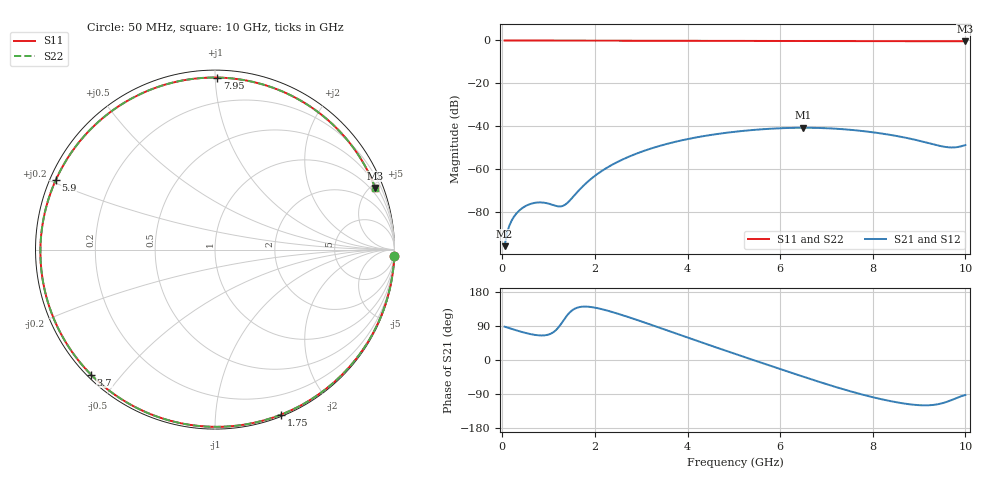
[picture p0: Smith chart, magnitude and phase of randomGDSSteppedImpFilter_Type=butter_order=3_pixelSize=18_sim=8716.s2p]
! freq	dB(S11)	phase(S11)	dB(S12)	phase(S12)
!  dB(S21)	phase(S21)	dB(S22)	phase(S22)
!S-par simulation data
#  GHz  S  DB  R 50
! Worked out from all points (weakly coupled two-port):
!   200 points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, 50 MHz to 10 GHz, reference 50 ohm
!   highest |S21| = -40.70 dB at 6.5 GHz (marker M1); lowest = -95.9 dB at 50 MHz (marker M2)
!   lowest |S11| = -0.4 dB at 10 GHz (marker M3), VSWR 45.06, Z = 32.9 + j266 ohm
!   |S11| at or under -10 dB: nowhere
!   |S22| runs from -0.4 to 0.0 dB; largest |S21 - S12| = 0
!   S11 on the Smith chart (normalised r, x): 50 MHz: 0, -56; 1.75 GHz: 0.02, -1.48; 3.7 GHz: 0.01, -0.42; 5.9 GHz: 0.02, +0.21; 7.95 GHz: 0.04, +1.01; 10 GHz: 0.66, +5.31
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0.05  -0.00 -2.0  -95.92 87.9  -95.92 87.9  -0.00 -2.0
0.3  -0.02 -12.1  -80.81 78.4  -80.81 78.4  -0.02 -12.1
0.55  -0.03 -22.1  -76.70 69.9  -76.70 69.9  -0.03 -22.1
0.75  -0.04 -30.0  -75.58 65.4  -75.58 65.4  -0.04 -30.0
1.3  -0.07 -51.3  -77.22 100.6  -77.22 100.6  -0.07 -51.3
1.4  -0.07 -55.1  -75.86 117.8  -75.86 117.8  -0.07 -55.1
1.75  -0.08 -68.2  -67.77 140.9  -67.77 140.9  -0.08 -68.2
2.05  -0.10 -79.1  -62.32 136.9  -62.32 136.9  -0.10 -79.1
2.45  -0.11 -93.2  -57.07 123.9  -57.07 123.9  -0.11 -93.2
3.4  -0.15 -125.1  -49.16 85.0  -49.16 85.0  -0.15 -125.1
3.7  -0.17 -134.7  -47.44 72.2  -47.44 72.2  -0.17 -134.7
4.4  -0.20 -156.8  -44.41 42.4  -44.41 42.4  -0.20 -156.8
5.05  -0.24 -177.0  -42.50 15.2  -42.50 15.2  -0.23 -177.0
5.9  -0.28 156.5  -41.03 -19.7  -41.03 -19.7  -0.28 156.5
6.5  -0.31 137.3  -40.70 -44.1  -40.70 -44.1  -0.31 137.3
6.7  -0.32 130.9  -40.73 -52.0  -40.73 -52.0  -0.32 130.8
7.35  -0.35 109.4  -41.37 -76.7  -41.37 -76.7  -0.35 109.4
7.95  -0.37 89.3  -42.67 -96.7  -42.67 -96.7  -0.37 89.3
8.35  -0.37 75.7  -43.93 -107.7  -43.93 -107.7  -0.37 75.7
8.95  -0.38 55.4  -46.49 -118.8  -46.49 -118.8  -0.38 55.4
9.6  -0.38 33.8  -49.75 -110.4  -49.75 -110.4  -0.38 33.8
10  -0.39 21.0  -48.78 -92.4  -48.78 -92.4  -0.39 21.0
